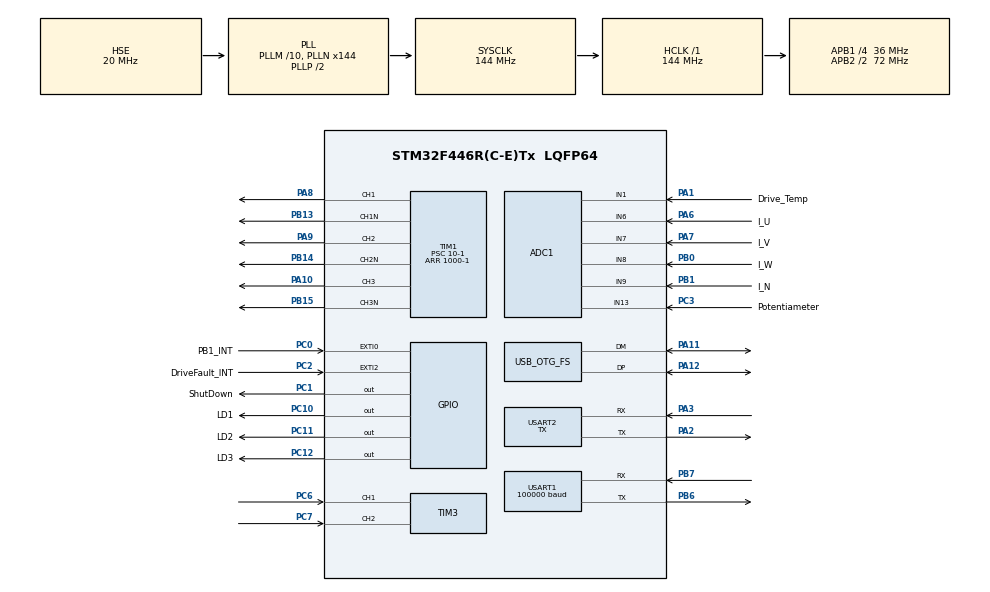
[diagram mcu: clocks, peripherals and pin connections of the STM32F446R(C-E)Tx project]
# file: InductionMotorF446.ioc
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ADC1.Channel-0\#ChannelRegularConversion=ADC_CHANNEL_1
ADC1.Channel-1\#ChannelRegularConversion=ADC_CHANNEL_6
ADC1.Channel-2\#ChannelRegularConversion=ADC_CHANNEL_7
ADC1.Channel-3\#ChannelRegularConversion=ADC_CHANNEL_8
ADC1.Channel-4\#ChannelRegularConversion=ADC_CHANNEL_9
ADC1.Channel-5\#ChannelRegularConversion=ADC_CHANNEL_13
ADC1.Channel-6\#ChannelRegularConversion=ADC_CHANNEL_TEMPSENSOR
ADC1.ContinuousConvMode=ENABLE
ADC1.DMAContinuousRequests=ENABLE
ADC1.EOCSelection=ADC_EOC_SEQ_CONV
ADC1.NbrOfConversion=7
ADC1.NbrOfConversionFlag=1
ADC1.Rank-0\#ChannelRegularConversion=1
ADC1.Rank-1\#ChannelRegularConversion=2
ADC1.Rank-2\#ChannelRegularConversion=3
ADC1.Rank-3\#ChannelRegularConversion=4
ADC1.Rank-4\#ChannelRegularConversion=5
ADC1.Rank-5\#ChannelRegularConversion=6
ADC1.Rank-6\#ChannelRegularConversion=7
ADC1.SamplingTime-0\#ChannelRegularConversion=ADC_SAMPLETIME_144CYCLES
ADC1.SamplingTime-1\#ChannelRegularConversion=ADC_SAMPLETIME_144CYCLES
ADC1.SamplingTime-2\#ChannelRegularConversion=ADC_SAMPLETIME_144CYCLES
ADC1.SamplingTime-3\#ChannelRegularConversion=ADC_SAMPLETIME_144CYCLES
ADC1.SamplingTime-4\#ChannelRegularConversion=ADC_SAMPLETIME_144CYCLES
ADC1.SamplingTime-5\#ChannelRegularConversion=ADC_SAMPLETIME_144CYCLES
ADC1.SamplingTime-6\#ChannelRegularConversion=ADC_SAMPLETIME_144CYCLES
ADC1.ScanConvMode=ENABLE
ADC1.master=1
Dma.ADC1.0.Direction=DMA_PERIPH_TO_MEMORY
Dma.ADC1.0.FIFOMode=DMA_FIFOMODE_DISABLE
Dma.ADC1.0.Instance=DMA2_Stream0
Dma.ADC1.0.MemDataAlignment=DMA_MDATAALIGN_HALFWORD
Dma.ADC1.0.MemInc=DMA_MINC_ENABLE
Dma.ADC1.0.Mode=DMA_CIRCULAR
Dma.ADC1.0.PeriphDataAlignment=DMA_PDATAALIGN_HALFWORD
Dma.ADC1.0.PeriphInc=DMA_PINC_DISABLE
Dma.ADC1.0.Priority=DMA_PRIORITY_LOW
Dma.Request0=ADC1
Dma.Request1=USART1_RX
Dma.USART1_RX.1.Direction=DMA_PERIPH_TO_MEMORY
Dma.USART1_RX.1.FIFOMode=DMA_FIFOMODE_DISABLE
Dma.USART1_RX.1.Instance=DMA2_Stream2
Dma.USART1_RX.1.MemDataAlignment=DMA_MDATAALIGN_BYTE
Dma.USART1_RX.1.MemInc=DMA_MINC_ENABLE
Dma.USART1_RX.1.Mode=DMA_CIRCULAR
Dma.USART1_RX.1.PeriphDataAlignment=DMA_PDATAALIGN_BYTE
Dma.USART1_RX.1.PeriphInc=DMA_PINC_DISABLE
Dma.USART1_RX.1.Priority=DMA_PRIORITY_LOW
Mcu.Family=STM32F4
Mcu.Name=STM32F446R(C-E)Tx
Mcu.Package=LQFP64
NVIC.ADC_IRQn=true\:3\:0\:true\:false\:true\:true\:true\:true
NVIC.DMA2_Stream0_IRQn=true\:3\:0\:true\:false\:true\:false\:true\:true
NVIC.DMA2_Stream2_IRQn=true\:3\:0\:true\:false\:true\:false\:true\:true
NVIC.EXTI0_IRQn=true\:2\:0\:true\:false\:true\:true\:true\:true
NVIC.EXTI2_IRQn=true\:0\:0\:false\:false\:true\:true\:true\:true
NVIC.OTG_FS_IRQn=true\:5\:0\:true\:false\:true\:false\:true\:true
NVIC.PriorityGroup=NVIC_PRIORITYGROUP_4
NVIC.TIM1_UP_TIM10_IRQn=true\:1\:0\:true\:false\:true\:true\:true\:true
NVIC.TIM3_IRQn=true\:0\:0\:false\:false\:true\:true\:true\:true
NVIC.USART2_IRQn=true\:4\:0\:true\:false\:true\:true\:true\:true
PA1.GPIO_Label=Drive_Temp
PA1.Signal=ADCx_IN1
PA10.Signal=S_TIM1_CH3
PA11.Mode=Device_Only
PA11.Signal=USB_OTG_FS_DM
PA12.Mode=Device_Only
PA12.Signal=USB_OTG_FS_DP
PA13.Mode=Trace_Asynchronous_SW
PA13.Signal=SYS_JTMS-SWDIO
PA14.Mode=Trace_Asynchronous_SW
PA14.Signal=SYS_JTCK-SWCLK
PA2.Mode=Asynchronous
PA2.Signal=USART2_TX
PA3.Mode=Asynchronous
PA3.Signal=USART2_RX
PA6.GPIO_Label=I_U
PA6.Signal=ADCx_IN6
PA7.GPIO_Label=I_V
PA7.Signal=ADCx_IN7
PA8.Signal=S_TIM1_CH1
PA9.Signal=S_TIM1_CH2
PB0.GPIO_Label=I_W
PB0.Signal=ADCx_IN8
PB1.GPIO_Label=I_N
PB1.Signal=ADCx_IN9
PB13.Mode=PWM Generation1 CH1 CH1N
PB13.Signal=TIM1_CH1N
PB14.Mode=PWM Generation2 CH2 CH2N
PB14.Signal=TIM1_CH2N
PB15.Mode=PWM Generation3 CH3 CH3N
PB15.Signal=TIM1_CH3N
PB3.Mode=Trace_Asynchronous_SW
PB3.Signal=SYS_JTDO-SWO
PB6.Mode=Asynchronous
PB6.Signal=USART1_TX
PB7.Mode=Asynchronous
PB7.Signal=USART1_RX
PC0.GPIO_Label=PB1_INT
PC0.GPIO_PuPd=GPIO_PULLDOWN
PC0.Signal=GPXTI0
PC1.GPIO_Label=ShutDown
PC1.Signal=GPIO_Output
PC10.GPIO_Label=LD1
PC10.Signal=GPIO_Output
PC11.GPIO_Label=LD2
PC11.Signal=GPIO_Output
PC12.GPIO_Label=LD3
PC12.Signal=GPIO_Output
PC2.GPIO_Label=DriveFault_INT
PC2.GPIO_ModeDefaultEXTI=GPIO_MODE_IT_FALLING
PC2.GPIO_PuPd=GPIO_PULLUP
PC2.Signal=GPXTI2
PC3.GPIO_Label=Potentiameter
PC3.Signal=ADCx_IN13
PC6.Signal=S_TIM3_CH1
PC7.Signal=S_TIM3_CH2
PH0-OSC_IN.Mode=HSE-External-Clock-Source
PH0-OSC_IN.Signal=RCC_OSC_IN
PH1-OSC_OUT.Mode=HSE-External-Clock-Source
PH1-OSC_OUT.Signal=RCC_OSC_OUT
ProjectManager.HeapSize=0x200
ProjectManager.StackSize=0x400
ProjectManager.TargetToolchain=STM32CubeIDE
RCC.AHBFreq_Value=144000000
RCC.APB1CLKDivider=RCC_HCLK_DIV4
RCC.APB1Freq_Value=36000000
RCC.APB1TimFreq_Value=72000000
RCC.APB2CLKDivider=RCC_HCLK_DIV2
RCC.APB2Freq_Value=72000000
RCC.APB2TimFreq_Value=144000000
RCC.CortexFreq_Value=144000000
RCC.HCLKFreq_Value=144000000
RCC.HSE_Timout=5000
RCC.HSE_VALUE=20000000
RCC.PLLM=10
RCC.PLLN=144
RCC.PLLQ=6
RCC.PLLSourceVirtual=RCC_PLLSOURCE_HSE
RCC.RCC_TIM_PRescaler_Selection=RCC_TIMPRES_DESACTIVATED
RCC.SYSCLKFreq_VALUE=144000000
RCC.SYSCLKSource=RCC_SYSCLKSOURCE_PLLCLK
RCC.USBFreq_Value=48000000
RCC.VCOOutputFreq_Value=288000000
SH.ADCx_IN1.0=ADC1_IN1,IN1
SH.ADCx_IN13.0=ADC1_IN13,IN13
SH.ADCx_IN6.0=ADC1_IN6,IN6
SH.ADCx_IN7.0=ADC1_IN7,IN7
SH.ADCx_IN8.0=ADC1_IN8,IN8
SH.ADCx_IN9.0=ADC1_IN9,IN9
SH.S_TIM1_CH1.0=TIM1_CH1,PWM Generation1 CH1 CH1N
SH.S_TIM1_CH2.0=TIM1_CH2,PWM Generation2 CH2 CH2N
SH.S_TIM1_CH3.0=TIM1_CH3,PWM Generation3 CH3 CH3N
SH.S_TIM3_CH1.0=TIM3_CH1,Encoder_Interface
SH.S_TIM3_CH2.0=TIM3_CH2,Encoder_Interface
STMicroelectronics.X-CUBE-ALGOBUILD.1.4.0.LibraryCcDSPOoLibraryJjDSPOoLibrary=true
TIM1.AutoReloadPreload=TIM_AUTORELOAD_PRELOAD_ENABLE
TIM1.Channel-PWM\ Generation1\ CH1\ CH1N=TIM_CHANNEL_1
TIM1.Channel-PWM\ Generation2\ CH2\ CH2N=TIM_CHANNEL_2
TIM1.Channel-PWM\ Generation3\ CH3\ CH3N=TIM_CHANNEL_3
TIM1.DeadTime=150
TIM1.Period=1000-1
TIM1.Prescaler=10-1
TIM10.Period=50-1
TIM10.Prescaler=144-1
USART1.BaudRate=100000
USART1.Mode=MODE_RX
USART1.Parity=PARITY_EVEN
USART1.StopBits=STOPBITS_2
USART1.VirtualMode=VM_ASYNC
USART2.Mode=MODE_TX
USART2.VirtualMode=VM_ASYNC
USB_DEVICE.CLASS_NAME_FS=CDC
USB_DEVICE.MANUFACTURER_STRING-CDC_FS=STMicroelectronics
USB_DEVICE.PRODUCT_STRING_CDC_FS=STM32 Virual ComPort
USB_DEVICE.VirtualMode-CDC_FS=Cdc
USB_DEVICE.VirtualModeFS=Cdc_FS
USB_OTG_FS.VirtualMode=Device_Only
VP_ADC1_TempSens_Input.Mode=IN-TempSens
VP_STMicroelectronics.X-CUBE-ALGOBUILD_VS_DSPOoLibraryJjLibrary_1.4.0_1.4.0.Mode=DSPOoLibraryJjLibrary
VP_TIM10_VS_ClockSourceINT.Mode=Enable_Timer
VP_TIM1_VS_ClockSourceINT.Mode=Internal
VP_USB_DEVICE_VS_USB_DEVICE_CDC_FS.Mode=CDC_FS
board=custom

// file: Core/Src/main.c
/* USER CODE BEGIN Header */
/**
  ******************************************************************************
  * @file           : main.c
  * @brief          : Main program body
  ******************************************************************************
  * @attention
  *
  * Copyright (c) 2025 STMicroelectronics.
  * All rights reserved.
  *
  * This software is licensed under terms that can be found in the LICENSE file
  * in the root directory of this software component.
  * If no LICENSE file comes with this software, it is provided AS-IS.
  *
  ******************************************************************************
  */
/* USER CODE END Header */
#include "main.h"
#include "usb_device.h"

/* USER CODE BEGIN Includes */
#include <stdio.h>
#include <string.h>
#include <arm_math.h>
#include <stdlib.h>
#include "Sbus.h"
#include "Encoder.h"
#include "SineWave.h"
#include "PID.h"
#include "string.h"
#include "usbd_cdc_if.h"
/* USER CODE END Includes */

/* USER CODE BEGIN PTD */
typedef enum{
	Off=0,
	Forward=1,
	Reverse=2
}StateMachine;
/* USER CODE END PTD */

/* USER CODE BEGIN PD */
//Bench bring-up: run open loop at a fixed frequency, ignoring pot / button / PID.
//Set to 0 for normal operation.
#define BENCH_FORCE_RUN		0
#define BENCH_FREQUENCY		20	//Hz

//Bench: force Forward and skip the pot-zero interlock, so the pot ALONE gates the drive.
//Button is ignored while this is set. Set to 0 for normal operation.
#define BENCH_SKIP_INTERLOCK	1
#define BENCH_SKIP_RAMP			1	//bench: jump straight to the requested frequency, no ramp
#define FREQ_RAMP_MS			50	//ms per 1Hz step when ramping; 50 = 20Hz/s

#define CLOSED_LOOP_SPEED	0		//1 = PID on encoder feedback, 0 = open-loop V/F from pot
#define POT_DEADBAND		10.0f	//% of travel below which the drive stays off
#define POT_FILTER_ALPHA	0.2f	//one pole IIR at the 10ms tick, ~50ms time constant
#define BUTTON_DEBOUNCE_TICKS	3	//consecutive 10ms samples needed to accept a level
/* USER CODE END PD */

ADC_HandleTypeDef hadc1;
DMA_HandleTypeDef hdma_adc1;

TIM_HandleTypeDef htim1;
TIM_HandleTypeDef htim3;
TIM_HandleTypeDef htim10;

UART_HandleTypeDef huart1;
UART_HandleTypeDef huart2;
DMA_HandleTypeDef hdma_usart1_rx;

/* USER CODE BEGIN PV */
tsbus receivedSBUS;
uint32_t PreviousStepChangeTime=0;
uint32_t FrequencyChangeTime=0;
uint32_t ScreenUpdateTime=0;
int Step=1;
StateMachine State=Off;
StateMachine PreviousState=Reverse;	//so the first press gives Forward
encoder_data Encoder;
int32_t EncoderMeasureTime=0;
volatile int Enable=0;				//EXTI2
volatile int ToggleState=0;			//EXTI0
int UpdateState = 0;
uint32_t  RequestedFrequency = 0;
StateMachine Direction=0;
ST_SineWave SineWave;
volatile int FiftyMicroSecond=0;	//TIM10 update ISR
PID_Controller PID;
volatile uint16_t ADCRawValues[7];	//written by DMA2_Stream0
volatile uint8_t ADCReady=0;		//ADC conversion complete ISR
float Potentiameter=0;
float PotFiltered=0;
float MCUTemp=0;
float DriveTemp =0,Current_U =0,Current_V =0,Current_W =0,Current_N =0;
uint8_t PotZeroed =0;
volatile int Test=0;				//EXTI0
volatile uint32_t TestTime=0;		//EXTI0
/* USER CODE END PV */

void SystemClock_Config(void);
static void MX_GPIO_Init(void);
static void MX_DMA_Init(void);
static void MX_ADC1_Init(void);
static void MX_TIM1_Init(void);
static void MX_TIM3_Init(void);
static void MX_USART1_UART_Init(void);
static void MX_USART2_UART_Init(void);
static void MX_TIM10_Init(void);
/* USER CODE BEGIN PFP */
void HAL_TIM_IC_CaptureCallback(TIM_HandleTypeDef *htim){
	if (htim->Instance == TIM3){
		Encoder.EncoderValue = __HAL_TIM_GET_COUNTER(htim);
	}
}
void HAL_TIM_PeriodElapsedCallback(TIM_HandleTypeDef *htim){
	if (htim->Instance == TIM10){
		FiftyMicroSecond=1;
	}
}
void HAL_UART_RxCpltCallback(UART_HandleTypeDef *huart){
	if (huart == &huart2){
		ParseSBUS(&receivedSBUS);
	}
}
void HAL_ADC_ConvCpltCallback(ADC_HandleTypeDef *hadc){
	ADCReady=1;
}
void HAL_GPIO_EXTI_Callback(uint16_t GPIO_Pin)
{
  //PC0 (button) is polled and debounced in the main loop, not handled here.
  if(GPIO_Pin== GPIO_PIN_2){
	  Enable=0;
  }
}
/* USER CODE END PFP */

int main(void)
{

  /* MCU Configuration--------------------------------------------------------*/

  /* Reset of all peripherals, Initializes the Flash interface and the Systick. */
  HAL_Init();

  /* Configure the system clock */
  SystemClock_Config();

  /* Initialize all configured peripherals */
  MX_GPIO_Init();
  MX_DMA_Init();
  MX_ADC1_Init();
  MX_TIM1_Init();
  MX_TIM3_Init();
  MX_USART1_UART_Init();
  MX_USART2_UART_Init();
  MX_TIM10_Init();
  MX_USB_DEVICE_Init();
  /* USER CODE BEGIN 2 */

  //  HAL_TIM_PWM_Start(&htim1, TIM_CHANNEL_1);
  //  HAL_TIMEx_PWMN_Start(&htim1, TIM_CHANNEL_1);
  //  HAL_TIM_PWM_Start(&htim1, TIM_CHANNEL_2);
  //  HAL_TIMEx_PWMN_Start(&htim1, TIM_CHANNEL_2);
  //  HAL_TIM_PWM_Start(&htim1, TIM_CHANNEL_3);
  //  HAL_TIMEx_PWMN_Start(&htim1, TIM_CHANNEL_3);
    TIM1->BDTR|=1<<15;//Enables timer 1 outputs that are set in CCER and CCER register
    TIM1->CR1|=1<<0;//Enables the counting in timer 1
    TIM1->CCER|=(1<<0)|(1<<2)|(1<<4)|(1<<6)|(1<<8)|(1<<10);//Enable all 6 complementary outputs
    HAL_TIM_Base_Start_IT(&htim10);
    HAL_TIM_Encoder_Start_IT(&htim3, TIM_CHANNEL_ALL);
    HAL_UART_Receive_DMA(&huart2, &receivedSBUS.ReceivedData[0], SBUS_LEN);
    HAL_ADC_Start_DMA(&hadc1, (uint32_t*) ADCRawValues, 7);
  /* USER CODE END 2 */

  /* Infinite loop */
  /* USER CODE BEGIN WHILE */

     CDC_Transmit_FS((uint8_t*)"Induction Driver V2.0\n", strlen("Induction Driver V2.0\n"));
     HAL_GPIO_WritePin(LD1_GPIO_Port, LD1_Pin, 1);
     HAL_Delay(500);
     HAL_GPIO_WritePin(LD2_GPIO_Port, LD2_Pin, 1);
     HAL_GPIO_WritePin(LD1_GPIO_Port, LD1_Pin, 0);
     HAL_Delay(500);
     HAL_GPIO_WritePin(LD3_GPIO_Port, LD3_Pin, 1);
     HAL_GPIO_WritePin(LD2_GPIO_Port, LD2_Pin, 0);
     HAL_Delay(500);
     HAL_GPIO_WritePin(LD3_GPIO_Port, LD3_Pin, 0);
     HAL_Delay(500);

     SineWave.WaveFrequency=MIN_FREQUENCY;
     SineWave.FrequencyA=MIN_FREQUENCY;
     SineWave.FrequencyB=MIN_FREQUENCY;
     SineWave.FrequencyC=MIN_FREQUENCY;

     PID.ControlMode=Velocity;
     PID.Kp=5;
     PID.Ki=0.1;
     PID.Kd=0;
     PID.dt=10;
     PID.integral=0;
     PID.min_output= 5;
     PID.max_output= 55;
     PID.min_Integral= 5;
     PID.max_Integral= 55;
     PID.output=10;

     HAL_GPIO_WritePin(ShutDown_GPIO_Port, ShutDown_Pin, 0);

  while (1)
  {
	  if(ADCReady==1){
	  		  ADCReady=0;
	  		  DriveTemp 	= ADCRawValues[0];
	  		  Current_U 	= ADCRawValues[1];
	  		  Current_V 	= ADCRawValues[2];
	  		  Current_W 	= ADCRawValues[3];
	  		  Current_N 	= ADCRawValues[4];
	  		  Potentiameter	= ADCRawValues[5] *100.0/4096.0;
	  		  MCUTemp		= ADCRawValues[6];
	  	  }
	  	  if (Potentiameter<5.0 && !PotZeroed) PotZeroed=1;
	  	  (PotZeroed==1)? (HAL_GPIO_WritePin(LD1_GPIO_Port,LD1_Pin,0)): (HAL_GPIO_WritePin(LD1_GPIO_Port, LD1_Pin, 1));

	  	  if (PotZeroed==1 && Potentiameter >=4.0 ){
	  		  //RequestedFrequency= Potentiometer * MAX_FREQUENCY/100.0;
	  		  PID.target= (Potentiameter * MAX_FREQUENCY/100.0)*1735/60;
	  		  //if (State==Off) ToggleState=1;
	  	  }

	  	  //V/F for 208V 60Hz motor under test:
	  	  double Voltage = ( SineWave.WaveFrequency * (208.0/60.0)*5.0f) ;
	  	  if ( Voltage < 600) Voltage=600;
	  	  else if (Voltage >= 1000) Voltage = 1000;
	  	  SineWave.VoltageAmplitude= trunc(Voltage);
	  	  //Calculate RPM
	  	  //read every 10ms so *100*60 to be per minute
	  	  //1024*4 pulse / revolution on encoder
	  	  //Pulley ratio 20:50
	  	  //GetEncoderValue(&Encoder); 	//Obsolete since not using GPIO and using timer to capture encoder value
	  	  if ((HAL_GetTick()-EncoderMeasureTime)>=10){
	  		  Encoder.SpeedRPM=(Encoder.EncoderValue-Encoder.PreviousEncoderValue)*((60*100)*20)/(1024*4*50);
	  		  Encoder.PreviousEncoderValue=Encoder.EncoderValue;

	  		  //Speed setpoint
	  		  PotFiltered += (Potentiameter - PotFiltered) * POT_FILTER_ALPHA;
#if CLOSED_LOOP_SPEED
	  		  updatePID(&PID, (double)abs(Encoder.SpeedRPM));
	  		  RequestedFrequency=PID.output;
#else
	  		  //Open loop V/F: pot travel above the deadband maps to MIN..MAX_FREQUENCY
	  		  float PotSpan = (PotFiltered - POT_DEADBAND) / (100.0f - POT_DEADBAND);
	  		  if (PotSpan < 0.0f) PotSpan = 0.0f;
	  		  else if (PotSpan > 1.0f) PotSpan = 1.0f;
	  		  RequestedFrequency = MIN_FREQUENCY + (uint32_t)(PotSpan*(MAX_FREQUENCY-MIN_FREQUENCY) + 0.5f);
#endif
	  		  //Button: polled debounce. EXTI is unreliable here because R5 sits in series with
	  		  //SW3, so a press only pulls PC0 to ~2.6V through the internal pulldown.
	  		  static uint8_t BtnLast=0, BtnStable=0, BtnCount=0;
	  		  uint8_t BtnRaw = HAL_GPIO_ReadPin(PB1_INT_GPIO_Port, PB1_INT_Pin);
	  		  if (BtnRaw != BtnLast){ BtnLast=BtnRaw; BtnCount=0; }
	  		  else if (BtnCount < BUTTON_DEBOUNCE_TICKS) BtnCount++;
	  		  if (BtnCount >= BUTTON_DEBOUNCE_TICKS && BtnStable != BtnLast){
	  			  BtnStable = BtnLast;
	  			  if (BtnStable){ ToggleState=1; Test=1; TestTime=HAL_GetTick(); }	//press
	  		  }

	  		  //Report on USB CDC
	  		  static char msg[128];	//static: USB stack keeps the pointer after this scope exits
	  		  int len= snprintf(msg,sizeof(msg),"Pot=%5.1f ReqF=%3lu WaveF=%3lu Amp=%4lu RPM=%6ld St=%d\n",
	  				  PotFiltered, RequestedFrequency, SineWave.WaveFrequency, SineWave.VoltageAmplitude, Encoder.SpeedRPM, State);
	  		  if (len > (int)sizeof(msg)-1) len = sizeof(msg)-1;	//snprintf returns untruncated length
			  CDC_Transmit_FS((uint8_t*)msg, len);

	  		  EncoderMeasureTime= HAL_GetTick();
	  	  }
	  	  //enable/disable by push button: Off -> Forward -> Off -> Reverse -> Off ...
	  	  if (ToggleState){
	  		  if (State==Forward || State==Reverse) State=Off;
	  		  else if (State==Off && PreviousState==Reverse) State=PreviousState=Forward;
	  		  else if (State==Off && PreviousState==Forward) State=PreviousState=Reverse;
	  		  ToggleState=0;
	  	  }
	  	  if (HAL_GetTick()-TestTime>=100 && Test) Test=0;
#if BENCH_SKIP_INTERLOCK
	  	  PotZeroed = 1;
	  	  State = Forward;
#endif
	  	  //State Machine
	  	  switch(State){
	  	  	  case	Off:
	  	  		  Enable=0;
	  	  		  Direction=Off;
	  	  		  HAL_GPIO_WritePin(LD2_GPIO_Port, LD2_Pin, 0);
	  	  		  HAL_GPIO_WritePin(LD3_GPIO_Port, LD3_Pin, 0);
	  	  		  break;
	  	  	  case Forward:
	  	  		  Enable=1;
	  	  		  Direction=Forward;
	  	  		  HAL_GPIO_WritePin(LD2_GPIO_Port, LD2_Pin, 1);
	  	  		  HAL_GPIO_WritePin(LD3_GPIO_Port, LD3_Pin, 0);
	  	  		  break;
	  	  	  case Reverse:
	  	  		  Enable=1;
	  	  		  Direction=Reverse;
	  	  		  HAL_GPIO_WritePin(LD2_GPIO_Port, LD2_Pin, 0);
	  	  		  HAL_GPIO_WritePin(LD3_GPIO_Port, LD3_Pin, 1);
	  	  		  break;
	  	  }
	  	  //Run motor if enabled
	  	  int RunDrive = (Enable && State!= Off && PotZeroed && PotFiltered > POT_DEADBAND && RequestedFrequency>=MIN_FREQUENCY);
#if BENCH_FORCE_RUN
	  	  RunDrive				= 1;
	  	  Direction				= Forward;
	  	  RequestedFrequency	= BENCH_FREQUENCY;	//equal to WaveFrequency so the ramp stays a no-op
	  	  SineWave.WaveFrequency= BENCH_FREQUENCY;
#endif
	  	  if(RunDrive){
	  		  //Generating Sinusoidal PWM
	  		  GenerateSine(&SineWave, &FiftyMicroSecond);
	  		  //Ramp Frequency
#if BENCH_SKIP_RAMP
	  		  SineWave.WaveFrequency = RequestedFrequency;
#else
	  		  if ((HAL_GetTick()-FrequencyChangeTime)>=FREQ_RAMP_MS && RequestedFrequency != SineWave.WaveFrequency){
	  			  if (RequestedFrequency > SineWave.WaveFrequency) SineWave.WaveFrequency++;
	  			  else if (RequestedFrequency < SineWave.WaveFrequency) SineWave.WaveFrequency--;
	  			  FrequencyChangeTime= HAL_GetTick();
	  		  }
#endif
	  	  }
	  	  //if not enabled then stop everything
	  	  else {
	  		  SineWave.PhaseA	=SineWave.PhaseB	=SineWave.PhaseC	=0;
	  		  TIM1->CCR1=TIM1->CCR2=TIM1->CCR3=PWM_MAX_VALUE/2;  // neutral, no net current
	  		  SineWave.WaveFrequency=MIN_FREQUENCY;
	  	  }
	  	  //send PWM values out (centered complementary SPWM)
	  	  if(Direction==Forward){
	  		  TIM1->CCR1 = (PWM_MAX_VALUE + SineWave.PhaseA) / 2;
	  		  TIM1->CCR2 = (PWM_MAX_VALUE + SineWave.PhaseB) / 2;
	  		  TIM1->CCR3 = (PWM_MAX_VALUE + SineWave.PhaseC) / 2;
	  	  }
	  	  else if (Direction==Reverse){
	  		  TIM1->CCR1 = (PWM_MAX_VALUE + SineWave.PhaseB) / 2;  // swap A<->B to reverse rotation
	  		  TIM1->CCR2 = (PWM_MAX_VALUE + SineWave.PhaseA) / 2;
	  		  TIM1->CCR3 = (PWM_MAX_VALUE + SineWave.PhaseC) / 2;
	  	  }
	  	  else{ TIM1->CCR1 = TIM1->CCR2 = TIM1->CCR3 = PWM_MAX_VALUE / 2; }  // neutral, no net current
    /* USER CODE END WHILE */

  }
}

void SystemClock_Config(void)
{
  RCC_OscInitTypeDef RCC_OscInitStruct = {0};
  RCC_ClkInitTypeDef RCC_ClkInitStruct = {0};

  /** Configure the main internal regulator output voltage
  */
  __HAL_RCC_PWR_CLK_ENABLE();
  __HAL_PWR_VOLTAGESCALING_CONFIG(PWR_REGULATOR_VOLTAGE_SCALE1);

  /** Initializes the RCC Oscillators according to the specified parameters
  * in the RCC_OscInitTypeDef structure.
  */
  RCC_OscInitStruct.OscillatorType = RCC_OSCILLATORTYPE_HSE;
  RCC_OscInitStruct.HSEState = RCC_HSE_BYPASS;
  RCC_OscInitStruct.PLL.PLLState = RCC_PLL_ON;
  RCC_OscInitStruct.PLL.PLLSource = RCC_PLLSOURCE_HSE;
  RCC_OscInitStruct.PLL.PLLM = 10;
  RCC_OscInitStruct.PLL.PLLN = 144;
  RCC_OscInitStruct.PLL.PLLP = RCC_PLLP_DIV2;
  RCC_OscInitStruct.PLL.PLLQ = 6;
  RCC_OscInitStruct.PLL.PLLR = 2;
  if (HAL_RCC_OscConfig(&RCC_OscInitStruct) != HAL_OK)
  {
    Error_Handler();
  }

  /** Initializes the CPU, AHB and APB buses clocks
  */
  RCC_ClkInitStruct.ClockType = RCC_CLOCKTYPE_HCLK|RCC_CLOCKTYPE_SYSCLK
                              |RCC_CLOCKTYPE_PCLK1|RCC_CLOCKTYPE_PCLK2;
  RCC_ClkInitStruct.SYSCLKSource = RCC_SYSCLKSOURCE_PLLCLK;
  RCC_ClkInitStruct.AHBCLKDivider = RCC_SYSCLK_DIV1;
  RCC_ClkInitStruct.APB1CLKDivider = RCC_HCLK_DIV4;
  RCC_ClkInitStruct.APB2CLKDivider = RCC_HCLK_DIV2;

  if (HAL_RCC_ClockConfig(&RCC_ClkInitStruct, FLASH_LATENCY_4) != HAL_OK)
  {
    Error_Handler();
  }
}

static void MX_ADC1_Init(void)
{

  ADC_ChannelConfTypeDef sConfig = {0};

  /** Configure the global features of the ADC (Clock, Resolution, Data Alignment and number of conversion)
  */
  hadc1.Instance = ADC1;
  hadc1.Init.ClockPrescaler = ADC_CLOCK_SYNC_PCLK_DIV2;
  hadc1.Init.Resolution = ADC_RESOLUTION_12B;
  hadc1.Init.ScanConvMode = ENABLE;
  hadc1.Init.ContinuousConvMode = ENABLE;
  hadc1.Init.DiscontinuousConvMode = DISABLE;
  hadc1.Init.ExternalTrigConvEdge = ADC_EXTERNALTRIGCONVEDGE_NONE;
  hadc1.Init.ExternalTrigConv = ADC_SOFTWARE_START;
  hadc1.Init.DataAlign = ADC_DATAALIGN_RIGHT;
  hadc1.Init.NbrOfConversion = 7;
  hadc1.Init.DMAContinuousRequests = ENABLE;
  hadc1.Init.EOCSelection = ADC_EOC_SEQ_CONV;
  if (HAL_ADC_Init(&hadc1) != HAL_OK)
  {
    Error_Handler();
  }

  /** Configure for the selected ADC regular channel its corresponding rank in the sequencer and its sample time.
  */
  sConfig.Channel = ADC_CHANNEL_1;
  sConfig.Rank = 1;
  sConfig.SamplingTime = ADC_SAMPLETIME_144CYCLES;
  if (HAL_ADC_ConfigChannel(&hadc1, &sConfig) != HAL_OK)
  {
    Error_Handler();
  }

  /** Configure for the selected ADC regular channel its corresponding rank in the sequencer and its sample time.
  */
  sConfig.Channel = ADC_CHANNEL_6;
  sConfig.Rank = 2;
  if (HAL_ADC_ConfigChannel(&hadc1, &sConfig) != HAL_OK)
  {
    Error_Handler();
  }

  /** Configure for the selected ADC regular channel its corresponding rank in the sequencer and its sample time.
  */
  sConfig.Channel = ADC_CHANNEL_7;
  sConfig.Rank = 3;
  if (HAL_ADC_ConfigChannel(&hadc1, &sConfig) != HAL_OK)
  {
    Error_Handler();
  }

  /** Configure for the selected ADC regular channel its corresponding rank in the sequencer and its sample time.
  */
  sConfig.Channel = ADC_CHANNEL_8;
  sConfig.Rank = 4;
  if (HAL_ADC_ConfigChannel(&hadc1, &sConfig) != HAL_OK)
  {
    Error_Handler();
  }

  /** Configure for the selected ADC regular channel its corresponding rank in the sequencer and its sample time.
  */
  sConfig.Channel = ADC_CHANNEL_9;
  sConfig.Rank = 5;
  if (HAL_ADC_ConfigChannel(&hadc1, &sConfig) != HAL_OK)
  {
    Error_Handler();
  }

  /** Configure for the selected ADC regular channel its corresponding rank in the sequencer and its sample time.
  */
  sConfig.Channel = ADC_CHANNEL_13;
  sConfig.Rank = 6;
  if (HAL_ADC_ConfigChannel(&hadc1, &sConfig) != HAL_OK)
  {
    Error_Handler();
  }

  /** Configure for the selected ADC regular channel its corresponding rank in the sequencer and its sample time.
  */
  sConfig.Channel = ADC_CHANNEL_TEMPSENSOR;
  sConfig.Rank = 7;
  if (HAL_ADC_ConfigChannel(&hadc1, &sConfig) != HAL_OK)
  {
    Error_Handler();
  }

}

static void MX_TIM1_Init(void)
{

  TIM_ClockConfigTypeDef sClockSourceConfig = {0};
  TIM_MasterConfigTypeDef sMasterConfig = {0};
  TIM_OC_InitTypeDef sConfigOC = {0};
  TIM_BreakDeadTimeConfigTypeDef sBreakDeadTimeConfig = {0};

  htim1.Instance = TIM1;
  htim1.Init.Prescaler = 10-1;
  htim1.Init.CounterMode = TIM_COUNTERMODE_UP;
  htim1.Init.Period = 1000-1;
  htim1.Init.ClockDivision = TIM_CLOCKDIVISION_DIV1;
  htim1.Init.RepetitionCounter = 0;
  htim1.Init.AutoReloadPreload = TIM_AUTORELOAD_PRELOAD_ENABLE;
  if (HAL_TIM_Base_Init(&htim1) != HAL_OK)
  {
    Error_Handler();
  }
  sClockSourceConfig.ClockSource = TIM_CLOCKSOURCE_INTERNAL;
  if (HAL_TIM_ConfigClockSource(&htim1, &sClockSourceConfig) != HAL_OK)
  {
    Error_Handler();
  }
  if (HAL_TIM_PWM_Init(&htim1) != HAL_OK)
  {
    Error_Handler();
  }
  sMasterConfig.MasterOutputTrigger = TIM_TRGO_RESET;
  sMasterConfig.MasterSlaveMode = TIM_MASTERSLAVEMODE_DISABLE;
  if (HAL_TIMEx_MasterConfigSynchronization(&htim1, &sMasterConfig) != HAL_OK)
  {
    Error_Handler();
  }
  sConfigOC.OCMode = TIM_OCMODE_PWM1;
  sConfigOC.Pulse = 0;
  sConfigOC.OCPolarity = TIM_OCPOLARITY_HIGH;
  sConfigOC.OCNPolarity = TIM_OCNPOLARITY_HIGH;
  sConfigOC.OCFastMode = TIM_OCFAST_DISABLE;
  sConfigOC.OCIdleState = TIM_OCIDLESTATE_RESET;
  sConfigOC.OCNIdleState = TIM_OCNIDLESTATE_RESET;
  if (HAL_TIM_PWM_ConfigChannel(&htim1, &sConfigOC, TIM_CHANNEL_1) != HAL_OK)
  {
    Error_Handler();
  }
  if (HAL_TIM_PWM_ConfigChannel(&htim1, &sConfigOC, TIM_CHANNEL_2) != HAL_OK)
  {
    Error_Handler();
  }
  if (HAL_TIM_PWM_ConfigChannel(&htim1, &sConfigOC, TIM_CHANNEL_3) != HAL_OK)
  {
    Error_Handler();
  }
  sBreakDeadTimeConfig.OffStateRunMode = TIM_OSSR_DISABLE;
  sBreakDeadTimeConfig.OffStateIDLEMode = TIM_OSSI_DISABLE;
  sBreakDeadTimeConfig.LockLevel = TIM_LOCKLEVEL_OFF;
  sBreakDeadTimeConfig.DeadTime = 150;
  sBreakDeadTimeConfig.BreakState = TIM_BREAK_DISABLE;
  sBreakDeadTimeConfig.BreakPolarity = TIM_BREAKPOLARITY_HIGH;
  sBreakDeadTimeConfig.AutomaticOutput = TIM_AUTOMATICOUTPUT_DISABLE;
  if (HAL_TIMEx_ConfigBreakDeadTime(&htim1, &sBreakDeadTimeConfig) != HAL_OK)
  {
    Error_Handler();
  }
  HAL_TIM_MspPostInit(&htim1);

}

static void MX_TIM3_Init(void)
{

  TIM_Encoder_InitTypeDef sConfig = {0};
  TIM_MasterConfigTypeDef sMasterConfig = {0};

  htim3.Instance = TIM3;
  htim3.Init.Prescaler = 0;
  htim3.Init.CounterMode = TIM_COUNTERMODE_UP;
  htim3.Init.Period = 65535;
  htim3.Init.ClockDivision = TIM_CLOCKDIVISION_DIV1;
  htim3.Init.AutoReloadPreload = TIM_AUTORELOAD_PRELOAD_DISABLE;
  sConfig.EncoderMode = TIM_ENCODERMODE_TI1;
  sConfig.IC1Polarity = TIM_ICPOLARITY_RISING;
  sConfig.IC1Selection = TIM_ICSELECTION_DIRECTTI;
  sConfig.IC1Prescaler = TIM_ICPSC_DIV1;
  sConfig.IC1Filter = 0;
  sConfig.IC2Polarity = TIM_ICPOLARITY_RISING;
  sConfig.IC2Selection = TIM_ICSELECTION_DIRECTTI;
  sConfig.IC2Prescaler = TIM_ICPSC_DIV1;
  sConfig.IC2Filter = 0;
  if (HAL_TIM_Encoder_Init(&htim3, &sConfig) != HAL_OK)
  {
    Error_Handler();
  }
  sMasterConfig.MasterOutputTrigger = TIM_TRGO_RESET;
  sMasterConfig.MasterSlaveMode = TIM_MASTERSLAVEMODE_DISABLE;
  if (HAL_TIMEx_MasterConfigSynchronization(&htim3, &sMasterConfig) != HAL_OK)
  {
    Error_Handler();
  }

}

static void MX_TIM10_Init(void)
{

  htim10.Instance = TIM10;
  htim10.Init.Prescaler = 144-1;
  htim10.Init.CounterMode = TIM_COUNTERMODE_UP;
  htim10.Init.Period = 50-1;
  htim10.Init.ClockDivision = TIM_CLOCKDIVISION_DIV1;
  htim10.Init.AutoReloadPreload = TIM_AUTORELOAD_PRELOAD_DISABLE;
  if (HAL_TIM_Base_Init(&htim10) != HAL_OK)
  {
    Error_Handler();
  }

}

static void MX_USART1_UART_Init(void)
{

  huart1.Instance = USART1;
  huart1.Init.BaudRate = 100000;
  huart1.Init.WordLength = UART_WORDLENGTH_8B;
  huart1.Init.StopBits = UART_STOPBITS_2;
  huart1.Init.Parity = UART_PARITY_EVEN;
  huart1.Init.Mode = UART_MODE_RX;
  huart1.Init.HwFlowCtl = UART_HWCONTROL_NONE;
  huart1.Init.OverSampling = UART_OVERSAMPLING_16;
  if (HAL_UART_Init(&huart1) != HAL_OK)
  {
    Error_Handler();
  }

}

static void MX_USART2_UART_Init(void)
{

  huart2.Instance = USART2;
  huart2.Init.BaudRate = 115200;
  huart2.Init.WordLength = UART_WORDLENGTH_8B;
  huart2.Init.StopBits = UART_STOPBITS_1;
  huart2.Init.Parity = UART_PARITY_NONE;
  huart2.Init.Mode = UART_MODE_TX;
  huart2.Init.HwFlowCtl = UART_HWCONTROL_NONE;
  huart2.Init.OverSampling = UART_OVERSAMPLING_16;
  if (HAL_UART_Init(&huart2) != HAL_OK)
  {
    Error_Handler();
  }

}

static void MX_DMA_Init(void)
{

  /* DMA controller clock enable */
  __HAL_RCC_DMA2_CLK_ENABLE();

  /* DMA interrupt init */
  /* DMA2_Stream0_IRQn interrupt configuration */
  HAL_NVIC_SetPriority(DMA2_Stream0_IRQn, 3, 0);
  HAL_NVIC_EnableIRQ(DMA2_Stream0_IRQn);
  /* DMA2_Stream2_IRQn interrupt configuration */
  HAL_NVIC_SetPriority(DMA2_Stream2_IRQn, 3, 0);
  HAL_NVIC_EnableIRQ(DMA2_Stream2_IRQn);

}

static void MX_GPIO_Init(void)
{
  GPIO_InitTypeDef GPIO_InitStruct = {0};

  /* GPIO Ports Clock Enable */
  __HAL_RCC_GPIOH_CLK_ENABLE();
  __HAL_RCC_GPIOC_CLK_ENABLE();
  __HAL_RCC_GPIOA_CLK_ENABLE();
  __HAL_RCC_GPIOB_CLK_ENABLE();

  /*Configure GPIO pin Output Level */
  HAL_GPIO_WritePin(GPIOC, ShutDown_Pin|LD1_Pin|LD2_Pin|LD3_Pin, GPIO_PIN_RESET);

  /*Configure GPIO pin : PB1_INT_Pin */
  GPIO_InitStruct.Pin = PB1_INT_Pin;
  GPIO_InitStruct.Mode = GPIO_MODE_IT_RISING;
  GPIO_InitStruct.Pull = GPIO_PULLDOWN;
  HAL_GPIO_Init(PB1_INT_GPIO_Port, &GPIO_InitStruct);

  /*Configure GPIO pins : ShutDown_Pin LD1_Pin LD2_Pin LD3_Pin */
  GPIO_InitStruct.Pin = ShutDown_Pin|LD1_Pin|LD2_Pin|LD3_Pin;
  GPIO_InitStruct.Mode = GPIO_MODE_OUTPUT_PP;
  GPIO_InitStruct.Pull = GPIO_NOPULL;
  GPIO_InitStruct.Speed = GPIO_SPEED_FREQ_LOW;
  HAL_GPIO_Init(GPIOC, &GPIO_InitStruct);

  /*Configure GPIO pin : DriveFault_INT_Pin */
  GPIO_InitStruct.Pin = DriveFault_INT_Pin;
  GPIO_InitStruct.Mode = GPIO_MODE_IT_FALLING;
  GPIO_InitStruct.Pull = GPIO_PULLUP;
  HAL_GPIO_Init(DriveFault_INT_GPIO_Port, &GPIO_InitStruct);

  /* EXTI interrupt init*/
  HAL_NVIC_SetPriority(EXTI0_IRQn, 2, 0);
  HAL_NVIC_EnableIRQ(EXTI0_IRQn);

  HAL_NVIC_SetPriority(EXTI2_IRQn, 0, 0);
  HAL_NVIC_EnableIRQ(EXTI2_IRQn);

}

void Error_Handler(void)
{
  __disable_irq();
  while (1)
  {
  }
}
